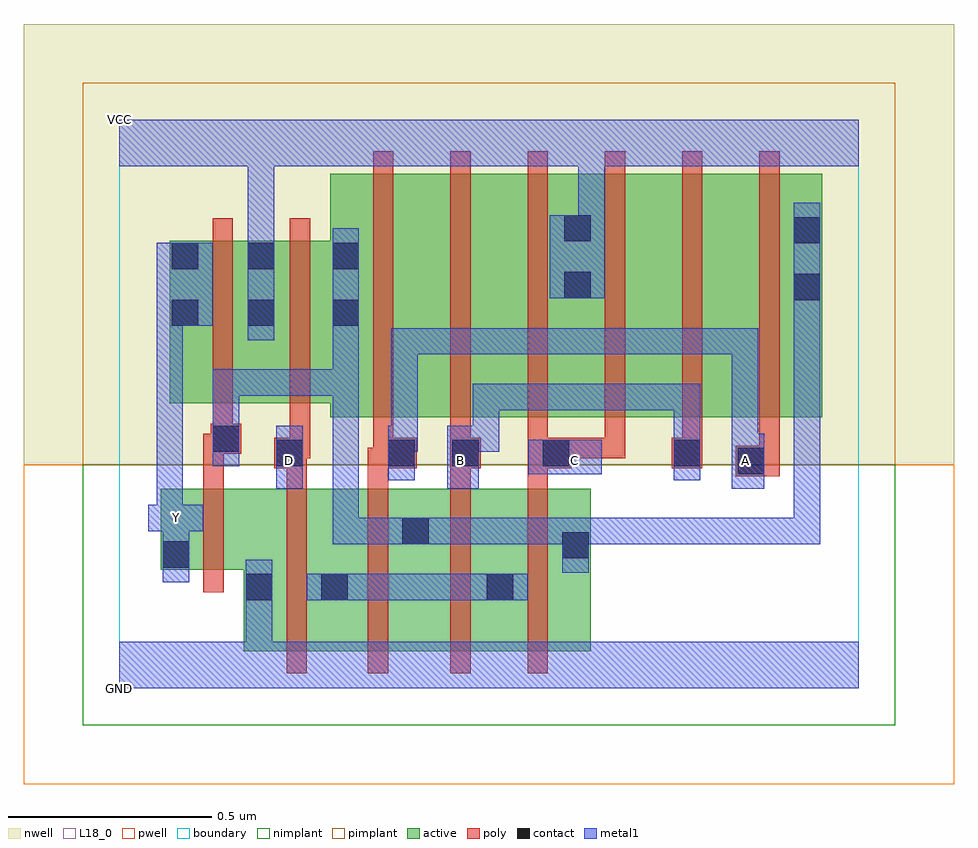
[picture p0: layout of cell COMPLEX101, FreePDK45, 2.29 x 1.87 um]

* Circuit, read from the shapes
.subckt COMPLEX101 A B C D GND VCC Y
M1 GND n1 Y VSUBS nfet w=0.2u l=0.05u
M2 n2 D GND VSUBS nfet w=0.4u l=0.05u
M3 n1 A n2 VSUBS nfet w=0.4u l=0.05u
M4 n2 B n1 VSUBS nfet w=0.4u l=0.05u
M5 n1 C n2 VSUBS nfet w=0.4u l=0.05u
M6 VCC n1 Y n3 pfet w=0.4u l=0.05u
M7 n1 D VCC n3 pfet w=0.4u l=0.05u
M8 n4 A n1 n3 pfet w=0.6u l=0.05u
M9 n5 B n4 n3 pfet w=0.6u l=0.05u
M10 VCC C n5 n3 pfet w=0.6u l=0.05u
M11 n6 C VCC n3 pfet w=0.6u l=0.05u
M12 n7 B n6 n3 pfet w=0.6u l=0.05u
M13 n1 A n7 n3 pfet w=0.6u l=0.05u
.ends

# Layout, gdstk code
import gdstk
lib = gdstk.Library(unit=1e-6, precision=1e-09)
def R(c, l, rs):  # rectangles x0, y0, x1, y1
    for r in rs: c.add(gdstk.rectangle(r[:2], r[2:], *l))
def A(c, l, x, y, w, h, nx, ny, dx, dy):  # array of equal rectangles
    R(c, l, [(x+i*dx, y+j*dy, x+i*dx+w, y+j*dy+h) for i in range(nx) for j in range(ny)])
active = (1, 0)
pwell = (2, 0)
nwell = (3, 0)
nimplant = (4, 0)
pimplant = (5, 0)
poly = (9, 0)
contact = (10, 0)
metal1 = (11, 0)
L18_0 = (18, 0)
boundary = (235, 0)

complex101 = lib.new_cell('COMPLEX101')
R(complex101, active, [(0.307,0.092,0.567,0.492), (0.307,0.092,0.382,0.292), (0.492,0.092,0.767,0.492), (0.692,0.092,0.975,0.492), (0.9,0.092,1.16,0.492), (0.492,0.095,0.567,0.492), (0.692,0.095,0.767,0.492), (0.9,0.095,0.975,0.492), (1.085,0.095,1.16,0.492), (0.102,0.292,0.177,0.492), (0.102,0.292,0.382,0.492), (0.52,0.667,0.745,1.267), (0.745,0.667,0.935,1.267), (0.935,0.667,1.165,1.267), (1.09,0.667,1.315,1.267), (1.315,0.667,1.505,1.267), (1.505,0.667,1.73,1.267), (1.655,0.667,1.73,1.2), (0.125,0.702,0.387,1.102), (0.125,0.702,0.2,1.102), (0.312,0.702,0.595,1.102), (0.52,0.702,0.595,1.2), (1.09,0.707,1.165,1.242), (0.312,0.802,0.387,1.102)])
R(complex101, pwell, [(-0.235,-0.235,2.055,0.55)])
R(complex101, nwell, [(-0.235,0.55,2.055,1.635)])
R(complex101, nimplant, [(-0.09,-0.09,1.91,0.55)])
R(complex101, pimplant, [(-0.09,0.55,1.91,1.49)])
A(complex101, poly, 0.625, 0.567, 0.05, 0.095, 5, 1, 0.19, 0)
A(complex101, poly, 0.625, 0.612, 0.05, 0.71, 6, 1, 0.19, 0)
R(complex101, poly, [(0.412,0.037,0.462,0.547), (0.612,0.037,0.662,0.547), (0.815,0.037,0.865,0.547), (1.005,0.037,1.055,0.547), (0.207,0.237,0.257,0.547), (0.207,0.497,0.257,0.627), (0.412,0.497,0.462,0.592), (0.612,0.497,0.662,0.592), (0.815,0.497,0.865,0.592), (1.005,0.497,1.055,0.592), (1.517,0.522,1.625,0.597), (0.382,0.542,0.462,0.617), (0.612,0.542,0.675,0.592), (0.625,0.542,0.675,0.592), (0.625,0.542,0.732,0.617), (0.815,0.542,0.89,0.617), (0.815,0.542,0.865,0.592), (0.815,0.542,0.865,0.592), (1.005,0.542,1.112,0.617), (1.36,0.542,1.435,0.617), (1.575,0.547,1.625,0.662), (0.412,0.567,0.462,0.617), (0.412,0.567,0.47,0.617), (0.42,0.567,0.47,0.697), (1.005,0.567,1.245,0.617), (1.005,0.567,1.055,0.617), (1.005,0.567,1.055,0.617), (1.005,0.567,1.055,0.617), (1.005,0.567,1.055,0.617), (1.195,0.567,1.245,0.617), (0.207,0.577,0.275,0.627), (0.225,0.577,0.3,0.652), (0.225,0.577,0.275,0.627), (0.23,0.602,0.28,0.697), (0.23,0.647,0.28,1.157), (0.42,0.647,0.47,1.157)])
R(complex101, contact, [(0.312,0.217,0.377,0.282), (0.497,0.217,0.562,0.282), (0.905,0.217,0.97,0.282), (0.107,0.297,0.172,0.362), (1.09,0.32,1.155,0.385), (0.697,0.355,0.762,0.42), (1.522,0.527,1.587,0.592), (0.387,0.547,0.452,0.612), (0.662,0.547,0.727,0.612), (0.82,0.547,0.885,0.612), (1.042,0.547,1.107,0.612), (1.365,0.547,1.43,0.612), (0.23,0.582,0.295,0.647), (0.13,0.892,0.195,0.957), (0.317,0.892,0.382,0.957), (0.525,0.892,0.59,0.957), (1.66,0.955,1.725,1.02), (1.095,0.96,1.16,1.025), (0.13,1.032,0.195,1.097), (0.317,1.032,0.382,1.097), (0.525,1.032,0.59,1.097), (1.66,1.095,1.725,1.16), (1.095,1.1,1.16,1.165)])
R(complex101, metal1, [(0,0,1.82,0.115), (0.312,0.05,0.377,0.247), (0.312,0.182,0.377,0.317), (0.462,0.217,0.597,0.282), (0.532,0.217,0.735,0.282), (0.67,0.217,0.735,0.282), (0.67,0.217,0.735,0.282), (0.67,0.217,0.735,0.282), (0.67,0.217,0.935,0.282), (0.87,0.217,0.935,0.282), (0.87,0.217,0.935,0.282), (0.87,0.217,1.005,0.282), (0.107,0.262,0.172,0.397), (1.09,0.285,1.155,0.42), (0.107,0.332,0.172,0.452), (0.525,0.355,0.59,0.42), (0.525,0.355,0.59,0.42), (0.525,0.355,0.59,0.42), (0.525,0.355,0.727,0.42), (0.525,0.355,0.59,0.785), (0.662,0.355,0.727,0.42), (0.662,0.355,0.727,0.42), (0.662,0.355,0.797,0.42), (0.732,0.355,0.935,0.42), (0.87,0.355,0.935,0.42), (0.87,0.355,0.935,0.42), (0.87,0.355,0.935,0.42), (0.87,0.355,1.155,0.42), (1.09,0.355,1.155,0.42), (1.09,0.355,1.155,0.42), (1.09,0.355,1.292,0.42), (1.227,0.355,1.292,0.42), (1.227,0.355,1.435,0.42), (1.37,0.355,1.435,0.42), (1.37,0.355,1.435,0.42), (1.37,0.355,1.435,0.42), (1.37,0.355,1.587,0.42), (1.522,0.355,1.587,0.42), (1.522,0.355,1.587,0.42), (1.522,0.355,1.587,0.42), (1.522,0.355,1.587,0.42), (1.522,0.355,1.587,0.42), (1.522,0.355,1.725,0.42), (1.66,0.355,1.725,0.985), (1.66,0.355,1.725,0.42), (1.66,0.355,1.725,0.42), (1.66,0.355,1.725,0.42), (0.072,0.387,0.207,0.452), (0.092,0.387,0.157,0.957), (0.387,0.492,0.452,0.647), (0.807,0.492,0.885,0.647), (1.507,0.492,1.587,0.627), (0.662,0.512,0.727,0.647), (1.365,0.512,1.43,0.647), (1.007,0.527,1.187,0.612), (0.23,0.547,0.295,0.682), (1.507,0.562,1.572,0.627), (1.507,0.562,1.572,0.627), (1.507,0.562,1.572,0.887), (0.662,0.582,0.735,0.647), (0.67,0.582,0.735,0.647), (0.67,0.582,0.735,0.887), (0.82,0.582,0.935,0.647), (0.87,0.582,0.935,0.75), (1.365,0.582,1.43,0.647), (1.365,0.582,1.43,0.75), (0.23,0.617,0.295,0.682), (0.23,0.617,0.295,0.785), (0.87,0.685,1.155,0.75), (1.09,0.685,1.155,0.75), (1.09,0.685,1.155,0.75), (1.09,0.685,1.155,0.75), (1.09,0.685,1.292,0.75), (1.227,0.685,1.292,0.75), (1.227,0.685,1.43,0.75), (0.23,0.72,0.59,0.785), (0.525,0.72,0.59,0.785), (0.525,0.72,0.59,0.785), (0.525,0.72,0.59,0.785), (0.525,0.72,0.59,0.922), (0.67,0.822,0.735,0.887), (0.67,0.822,0.935,0.887), (0.87,0.822,0.935,0.887), (0.87,0.822,0.935,0.887), (0.87,0.822,0.935,0.887), (0.87,0.822,1.072,0.887), (1.007,0.822,1.072,0.887), (1.007,0.822,1.072,0.887), (1.007,0.822,1.072,0.887), (1.007,0.822,1.292,0.887), (1.227,0.822,1.292,0.887), (1.227,0.822,1.43,0.887), (1.365,0.822,1.43,0.887), (1.365,0.822,1.43,0.887), (1.365,0.822,1.43,0.887), (1.365,0.822,1.572,0.887), (1.507,0.822,1.572,0.887), (0.317,0.857,0.382,1.132), (0.525,0.857,0.59,1.132), (0.092,0.892,0.157,0.957), (0.092,0.892,0.157,0.957), (0.092,0.892,0.23,1.097), (1.66,0.92,1.725,1.195), (1.06,0.96,1.195,1.165), (0.317,1.067,0.382,1.35), (1.13,1.1,1.195,1.35), (0,1.285,1.82,1.4), (0.317,1.285,0.382,1.35), (0.317,1.285,0.382,1.35)])
R(complex101, L18_0, [(0,0,1.82,0.115), (0.312,0.05,0.377,0.247), (0.312,0.182,0.377,0.317), (0.107,0.262,0.172,0.397), (0.107,0.332,0.172,0.452), (0.072,0.387,0.207,0.452), (0.092,0.387,0.157,0.957), (0.107,0.387,0.172,0.452), (0.387,0.492,0.452,0.647), (0.807,0.492,0.885,0.647), (1.507,0.492,1.587,0.627), (0.662,0.512,0.727,0.647), (1.365,0.512,1.43,0.647), (0.387,0.527,0.452,0.592), (0.807,0.527,0.872,0.592), (1.007,0.527,1.187,0.612), (1.087,0.527,1.152,0.592), (1.507,0.527,1.572,0.592), (1.507,0.562,1.572,0.627), (1.507,0.562,1.572,0.627), (1.507,0.562,1.572,0.887), (0.662,0.582,0.735,0.647), (0.67,0.582,0.735,0.647), (0.67,0.582,0.735,0.887), (0.82,0.582,0.935,0.647), (0.87,0.582,0.935,0.75), (1.365,0.582,1.43,0.647), (1.365,0.582,1.43,0.75), (0.87,0.685,1.155,0.75), (1.09,0.685,1.155,0.75), (1.09,0.685,1.155,0.75), (1.09,0.685,1.155,0.75), (1.09,0.685,1.292,0.75), (1.227,0.685,1.292,0.75), (1.227,0.685,1.43,0.75), (0.67,0.822,0.735,0.887), (0.67,0.822,0.935,0.887), (0.87,0.822,0.935,0.887), (0.87,0.822,0.935,0.887), (0.87,0.822,0.935,0.887), (0.87,0.822,1.072,0.887), (1.007,0.822,1.072,0.887), (1.007,0.822,1.072,0.887), (1.007,0.822,1.072,0.887), (1.007,0.822,1.292,0.887), (1.227,0.822,1.292,0.887), (1.227,0.822,1.43,0.887), (1.365,0.822,1.43,0.887), (1.365,0.822,1.43,0.887), (1.365,0.822,1.43,0.887), (1.365,0.822,1.572,0.887), (1.507,0.822,1.572,0.887), (0.317,0.857,0.382,1.132), (0.092,0.892,0.157,0.957), (0.092,0.892,0.157,0.957), (0.092,0.892,0.23,1.097), (1.06,0.96,1.195,1.165), (0.317,1.067,0.382,1.35), (1.13,1.1,1.195,1.35), (0,1.285,1.82,1.4), (0.317,1.285,0.382,1.35), (0.317,1.285,0.382,1.35)])
R(complex101, boundary, [(0,0,1.82,1.4)])
complex101.add(gdstk.Label('A', (1.54,0.56), layer=11, texttype=0))
complex101.add(gdstk.Label('B', (0.84,0.56), layer=11, texttype=0))
complex101.add(gdstk.Label('C', (1.12,0.56), layer=11, texttype=0))
complex101.add(gdstk.Label('D', (0.42,0.56), layer=11, texttype=0))
complex101.add(gdstk.Label('Y', (0.14,0.42), layer=11, texttype=0))
complex101.add(gdstk.Label('VCC', (0,1.4), layer=11, texttype=0))
complex101.add(gdstk.Label('GND', (0,0), layer=11, texttype=0))

lib.write_gds('COMPLEX101.gds')
